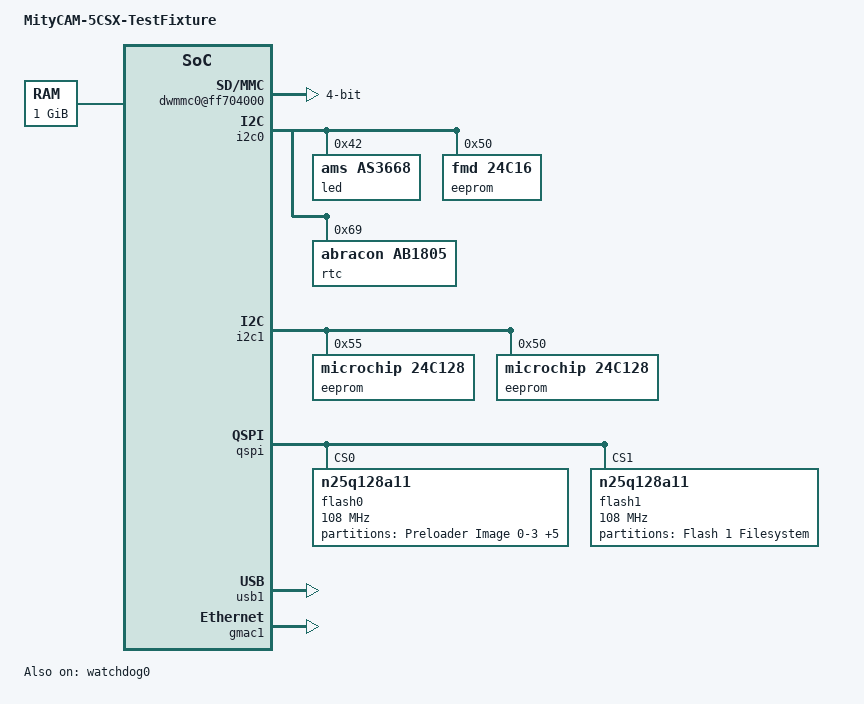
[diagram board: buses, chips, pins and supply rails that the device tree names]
/*
 *  Copyright (C) 2012 Altera Corporation <www.altera.com>
 *
 * This program is free software; you can redistribute it and/or modify
 * it under the terms of the GNU General Public License as published by
 * the Free Software Foundation; either version 2 of the License, or
 * (at your option) any later version.
 *
 * This program is distributed in the hope that it will be useful,
 * but WITHOUT ANY WARRANTY; without even the implied warranty of
 * MERCHANTABILITY or FITNESS FOR A PARTICULAR PURPOSE.  See the
 * GNU General Public License for more details.
 *
 * You should have received a copy of the GNU General Public License
 * along with this program.  If not, see <http://www.gnu.org/licenses/>.
 */

/dts-v1/;
#include "socfpga.dtsi"
#include <dt-bindings/interrupt-controller/irq.h>

/ {
	model = "MityCAM-5CSX-TestFixture";
	compatible = "cl,mitycam-ccd-ge", "altr,socfpga-cyclone5", "altr,socfpga";

	chosen {
		bootargs = "console=ttyS0,115200 root=/dev/mmcblk0p2 rw rootwait";
	};

	memory {
		name = "memory";
		device_type = "memory";
		reg = <0x0 0x40000000>; /* 1 GB (updated by uBoot during boot for larger devices) */
	};

	reserved-memory {
		#address-cells = <1>;
		#size-cells = <1>;
		ranges;

		/** reserved memory for CMEM for transceiver testing.
		 */
		ring_buffer_reserved: ring_buffer@20000000 {
			reg = <0x20000000 0x20000000>;
			no-map;
			status = "okay";
		};
	};

	aliases {
		/* this allow the ethaddr uboot environmnet variable contents
		 * to be added to the gmac1 device tree blob.
		 */
		ethernet0 = &gmac1;
	};

	soc {
		clkmgr@ffd04000 {
			clocks {
				osc1 {
					clock-frequency = <25000000>;
				};
			};
		};

		dwmmc0@ff704000 {
			num-slots = <1>;
			supports-highspeed;
			broken-cd;
			altr,dw-mshc-ciu-div = <3>;
			altr,dw-mshc-sdr-timing = <0 3>;
			bus-width = <4>;
			status = "okay";
		};

		i2c0: i2c@ffc04000 {
			speed-mode = <0>;
			status = "okay";
		};

		i2c1: i2c@ffc05000 {
			speed-mode = <0>;
			status = "okay";
		};

		qspi: spi@ff705000 {
			compatible = "cdns,qspi-nor";
                        #address-cells = <1>;
			#size-cells = <0>;
			reg = <0xff705000 0x1000>,
			      <0xffa00000 0x1000>;
			interrupts = <0 151 4>;
			cdns,fifo-depth = <128>;
			cdns,fifo-width = <4>;
			cdns,trigger-address = <0x00000000>;
			clocks = <&qspi_clk>;
			status = "okay";

			flash0: nor@0 {
				#address-cells = <1>;
				#size-cells = <1>;
				compatible = "n25q128a11", "jedec,spi-nor";
				reg = <0>;      /* chip select */
				spi-max-frequency = <108000000>;
				m25p,fast-read;
				page-size = <256>;
				block-size = <16>; /* 2^16, 64KB */
				cdns,read-delay = <4>;  /* delay value in read data capture register */
				cdns,tshsl-ns = <50>;
				cdns,tsd2d-ns = <50>;
				cdns,tchsh-ns = <4>;
				cdns,tslch-ns = <4>;

				partition@qspi-preloader {
					/* 64 KB for preloader image 0-3. */
					label = "Preloader Image 0-3";
					reg = <0x0 0x40000>;
				};
				partition@qspi-ubootenv {
					/* 64 KB for u-Boot Env. */
					label = "U-Boot Env";
					reg = <0x40000 0x10000>;
				};
				partition@qspi-dtb {
					/* 64 KB for DTB */
					label = "DTB";
					reg = <0x50000 0x10000>;
				};
				partition@qspi-uboot {
					/* 512 KB for U-Boot */
					label = "U-Boot";
					reg = <0x60000 0x80000>;
				};
				partition@qspi-kernel {
					/* 8 MB for Kernel */
					label = "Kernel";
					reg = <0xE0000 0x800000>;
				};
				partition@qspi-rootfs {
					/* 7.125 MB for jffs2 data. */
					label = "FPGA";
					reg = <0x8E0000 0x720000>;
				};
			};

			flash1: n25q00@1 {
				#address-cells = <1>;
				#size-cells = <1>;
				compatible = "n25q128a11", "jedec,spi-nor";
				reg = <1>;      /* chip select */
				spi-max-frequency = <108000000>;
				m25p,fast-read;
				page-size = <256>;
				block-size = <16>; /* 2^16, 64KB */
				cdns,read-delay = <4>;  /* delay value in read data capture register */
				cdns,tshsl-ns = <50>;
				cdns,tsd2d-ns = <50>;
				cdns,tchsh-ns = <4>;
				cdns,tslch-ns = <4>;

				partition@0 {
					/* 16MB for raw data. */
					label = "Flash 1 Filesystem";
					reg = <0x0 0x1000000>;
				};
			};
		};

		timer0@ffc08000 {
			clock-frequency = <100000000>;
		};

		timer1@ffc09000 {
			clock-frequency = <100000000>;
		};

		timer2@ffd00000 {
			clock-frequency = <25000000>;
		};

		timer3@ffd01000 {
			clock-frequency = <25000000>;
		};

		serial0@ffc02000 {
			clock-frequency = <100000000>;
		};

		serial1@ffc03000 {
			clock-frequency = <100000000>;
		};

		sysmgr@ffd08000 {
			cpu1-start-addr = <0xffd080c4>;
		};

		usb1: usb@ffb40000 {
			compatible = "snps,dwc2-vbus-ext";
			status = "okay";
		};

		gpio@ff708000 {
			/* HPS_GPIO0 -> HPS_GPIO28*/
			status = "okay";
			porta: gpio-controller@0 {
				gpio-line-names = /* 0 */ "", "", "", "", "", "", "", "", 
								  /* 8 */ "", "USB_RESET_N", "", "", "", "", "", "", 
								  /* 16 */ "", "", "", "", "", "", "", "",
								  /* 24 */ "", "", "", "", "ETH_RESET_N";
			};
		};

		gpio@ff709000 {
			/* HPS_GPIO29 -> HPS_GPIO57 */
			status = "okay";
			portb: gpio-controller@0 {
				gpio-line-names = /* 29 */ "", "", "", "", "", "", "", "", 
								  /* 37 */ "", "", "", "", "", "", "", "", 
								  /* 45 */ "", "", "", "", "J201-60", "J201-68", "J201-64", "J201-54",
								  /* 53 */ "J201-62", "J201-56", "J201-66", "J201-58", "";
			};
		};

		gpio@ff70a000 {
			/* HPS_GPIO58 -> HPS_GPIO66 */
			status = "okay";
			portc: gpio-controller@0 {
				gpio-line-names = "", "", "", "J201-51", "", "", "", "", 
								  "";
			};
		};

		streamer0: streamer@20000000 {
			compatible = "uio,irq";
			interrupts = <0 41 4>;
		};

		gmac1: ethernet@ff702000 {
			status = "okay";
		};

		hps_lw_bus: bus@0ff200000 {
			compatible = "simple-bus";
			reg = <0xFF200000 0x00200000>;
			#address-cells = <1>;
			#size-cells = <1>;
			ranges = <0x0 0xFF200000 0x00200000>;
			status = "okay";

			sysid_qsys: sysid@0000 {
				compatible = "altr,sysid-1.0";
				reg = <0x000000 0x08>;
			};

			sen_loopback_1: altr_pio@1000 {
				compatible = "altr,pio-1.0";
				reg = <0x00001000 0x10>;
				altr,ngpio = <32>;
				#gpio-cells = <2>;
				gpio-controller;
				gpio-line-names = 
					"J201-106", /* 0 */
					"J201-104", /* 1 */
					"J201-102", /* 2 */
					"J201-100", /* 3 */
					"J201-98", /* 4 */
					"J201-96", /* 5 */
					"J201-94", /* 6 */
					"J201-92", /* 7 */
					"J201-88", /* 8 */
					"J201-86", /* 9 */
					"J201-84", /* 10 */
					"J201-82", /* 11 */
					"J201-80", /* 12 */
					"J201-78", /* 13 */
					"J201-76", /* 14 */
					"J201-74", /* 15 */
					"J201-70", /* 16 */
					"J201-52", /* 17 */
					"J201-48", /* 18 */
					"J201-46", /* 19 */
					"J201-44", /* 20 */
					"J201-42", /* 21 */
					"J201-40", /* 22 */
					"J201-38", /* 23 */
					"J201-36", /* 24 */
					"J201-34", /* 25 */
					"J201-30", /* 26 */
					"J201-28", /* 27 */
					"J201-26", /* 28 */
					"J201-24", /* 29 */
					"J201-22", /* 30 */
					"J201-20"; /* 31 */
			};

			sen_loopback_2: altr_pio@2000 {
				compatible = "altr,pio-1.0";
				reg = <0x00002000 0x10>;
				altr,ngpio = <32>;
				#gpio-cells = <2>;
				gpio-controller;
				gpio-line-names = 
					"J201-18", /* 32 */
					"J201-16", /* 33 */
					"J201-105", /* 34 */
					"J201-103", /* 35 */
					"J201-101", /* 36 */
					"J201-99", /* 37 */
					"J201-97", /* 38 */
					"J201-95", /* 39 */
					"J201-93", /* 40 */
					"J201-91", /* 41 */
					"J201-87", /* 42 */
					"J201-85", /* 43 */
					"J201-81", /* 44 */
					"J201-79", /* 45 */
					"J201-77", /* 46 */
					"J201-75", /* 47 */
					"J201-69", /* 48 */
					"J201-67", /* 49 */
					"J201-73", /* 50 */
					"J201-47", /* 51 */
					"J201-57", /* 52 */
					"J201-55", /* 53 */
					"J201-45", /* 54 */
					"J201-43", /* 55 */
					"J201-41", /* 56 */
					"J201-39", /* 57 */
					"J201-35", /* 58 */
					"J201-33", /* 59 */
					"J201-29", /* 60 */
					"J201-27", /* 61 */
					"J201-25", /* 62 */
					"J201-23"; /* 63 */
			};

			sen_loopback_3: altr_pio@3000 {
				compatible = "altr,pio-1.0";
				reg = <0x00003000 0x10>;
				altr,ngpio = <8>;
				#gpio-cells = <2>;
				gpio-controller;
				gpio-line-names = 
					"J201-21", /* 64 */
					"J201-19", /* 65 */
					"J201-17", /* 66 */
					"J201-15", /* 67 */
					"J201-12", /* 68 */
					"J201-10", /* 69 */
					"J201-6",  /* 70 */
					"J201-4";  /* 71 */
			};

			sen_power_1: altr_pio@4000 {
				compatible = "altr,pio-1.0";
				reg = <0x00004000 0x10>;
				altr,ngpio = <32>;
				#gpio-cells = <2>;
				gpio-controller;
				gpio-line-names = 
					"J200-21", /* 0 */
					"J200-23", /* 1 */
					"J200-29", /* 2 */
					"J200-27", /* 3 */
					"J200-33", /* 4 */
					"J200-31", /* 5 */
					"J200-35", /* 6 */
					"J200-37", /* 7 */
					"J200-39", /* 8 */
					"J200-41", /* 9 */
					"J200-51", /* 10 */
					"J200-53", /* 11 */
					"J200-55", /* 12 */
					"J200-57", /* 13 */
					"J200-59", /* 14 */
					"J200-61", /* 15 */
					"J200-65", /* 16 */
					"J200-63", /* 17 */
					"J200-20", /* 18 */
					"J200-22", /* 19 */
					"J200-24", /* 20 */
					"J200-26", /* 21 */
					"J200-28", /* 22 */
					"J200-30", /* 23 */
					"J200-32", /* 24 */
					"J200-34", /* 25 */
					"J200-36", /* 26 */
					"J200-38", /* 27 */
					"J200-40", /* 28 */
					"J200-42", /* 29 */
					"J200-46", /* 30 */
					"J200-48"; /* 31 */
			};

			sen_power_2: altr_pio@5000 {
				compatible = "altr,pio-1.0";
				reg = <0x00005000 0x10>;
				altr,ngpio = <10>;
				#gpio-cells = <2>;
				gpio-controller;
				gpio-line-names = 
					"J200-54", /* 32 */
					"J200-52", /* 33 */
					"J200-56", /* 34 */
					"J200-58", /* 35 */
					"J200-60", /* 36 */
					"J200-62", /* 37 */
					"J200-64", /* 38 */
					"J200-66", /* 39 */
					"J200-45", /* 40 */
					"J200-47"; /* 41 */
			};
		};
	};

};

&watchdog0 {
	status = "okay";
};

&i2c0 {
	/* on SOM */
	led@42 {
		device_type = "led";
		compatible = "ams,as3668";
		reg = <0x42>;
	};
	/* on SOM */
	eeprom@50 {
		compatible = "fmd,24c16";
		reg = <0x50>;
	};
	/* on SOM */
	rtc@69 {
		device_type = "rtc";
		compatible = "abracon,ab1805";
		reg = <0x69>;
	};
};

 &i2c1 {
	/* Ethernet Board */
	eeprom@55 {
		compatible = "microchip,24c128";
		reg = <0x55>;
	};

	/* Test fixture loopback board */
	eeprom@50 {
		compatible = "microchip,24c128";
		reg = <0x50>;
	};
};

&flash0 {
	status = "okay";
};

&flash1 {
	status = "okay";
};

&usb1 {
	status = "okay";
};
